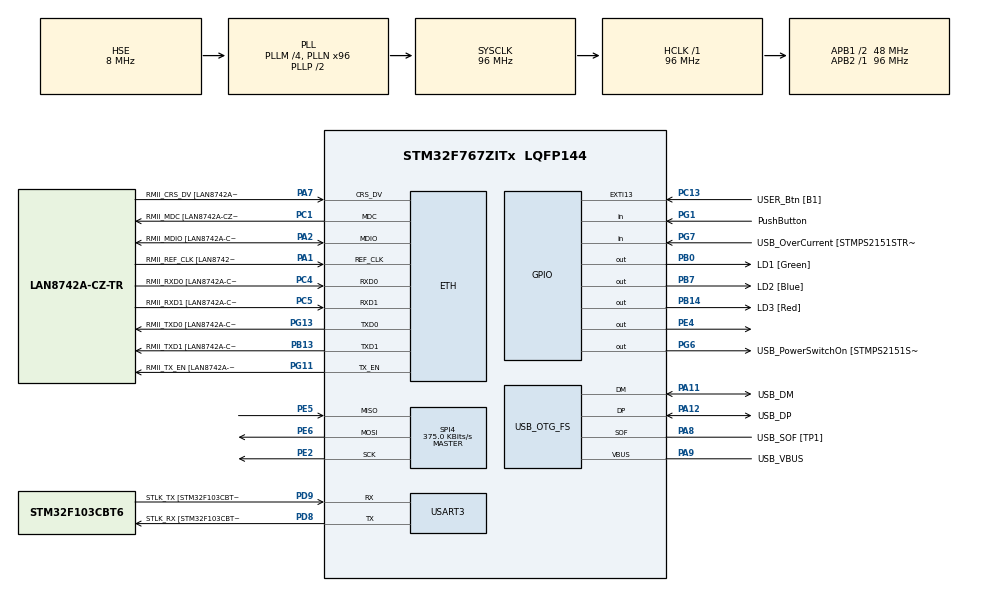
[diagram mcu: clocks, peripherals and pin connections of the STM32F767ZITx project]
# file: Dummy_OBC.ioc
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Dma.Request0=SPI4_RX
Dma.Request1=SPI4_TX
Dma.SPI4_RX.0.Direction=DMA_PERIPH_TO_MEMORY
Dma.SPI4_RX.0.FIFOMode=DMA_FIFOMODE_DISABLE
Dma.SPI4_RX.0.Instance=DMA2_Stream0
Dma.SPI4_RX.0.MemDataAlignment=DMA_MDATAALIGN_BYTE
Dma.SPI4_RX.0.MemInc=DMA_MINC_ENABLE
Dma.SPI4_RX.0.Mode=DMA_NORMAL
Dma.SPI4_RX.0.PeriphDataAlignment=DMA_PDATAALIGN_BYTE
Dma.SPI4_RX.0.PeriphInc=DMA_PINC_DISABLE
Dma.SPI4_RX.0.Priority=DMA_PRIORITY_LOW
Dma.SPI4_TX.1.Direction=DMA_MEMORY_TO_PERIPH
Dma.SPI4_TX.1.FIFOMode=DMA_FIFOMODE_DISABLE
Dma.SPI4_TX.1.Instance=DMA2_Stream1
Dma.SPI4_TX.1.MemDataAlignment=DMA_MDATAALIGN_BYTE
Dma.SPI4_TX.1.MemInc=DMA_MINC_ENABLE
Dma.SPI4_TX.1.Mode=DMA_NORMAL
Dma.SPI4_TX.1.PeriphDataAlignment=DMA_PDATAALIGN_BYTE
Dma.SPI4_TX.1.PeriphInc=DMA_PINC_DISABLE
Dma.SPI4_TX.1.Priority=DMA_PRIORITY_LOW
ETH.MediaInterface=ETH_MEDIA_INTERFACE_RMII
ETH.PHY_Name=LAN8742A_PHY_ADDRESS
ETH.PHY_Value=0
ETH.PhyAddress=0
Mcu.Family=STM32F7
Mcu.Name=STM32F767ZITx
Mcu.Package=LQFP144
NVIC.DMA2_Stream0_IRQn=true\:0\:0\:false\:false\:true\:false\:true
NVIC.DMA2_Stream1_IRQn=true\:0\:0\:false\:false\:true\:false\:true
NVIC.PriorityGroup=NVIC_PRIORITYGROUP_4
PA1.GPIO_Label=RMII_REF_CLK [LAN8742A-CZ-TR_REFCLK0]
PA1.Mode=RMII
PA1.Signal=ETH_REF_CLK
PA10.GPIO_Label=USB_ID
PA10.Signal=USB_OTG_FS_ID
PA11.GPIO_Label=USB_DM
PA11.Mode=Device_Only
PA11.Signal=USB_OTG_FS_DM
PA12.GPIO_Label=USB_DP
PA12.Mode=Device_Only
PA12.Signal=USB_OTG_FS_DP
PA13.GPIO_Label=TMS
PA13.Mode=Serial_Wire
PA13.Signal=SYS_JTMS-SWDIO
PA14.GPIO_Label=TCK
PA14.Mode=Serial_Wire
PA14.Signal=SYS_JTCK-SWCLK
PA2.GPIO_Label=RMII_MDIO [LAN8742A-CZ-TR_MDIO]
PA2.Mode=RMII
PA2.Signal=ETH_MDIO
PA7.GPIO_Label=RMII_CRS_DV [LAN8742A-CZ-TR_CRS_DV]
PA7.Mode=RMII
PA7.Signal=ETH_CRS_DV
PA8.GPIO_Label=USB_SOF [TP1]
PA8.Mode=Activate_SOF_FS
PA8.Signal=USB_OTG_FS_SOF
PA9.GPIO_Label=USB_VBUS
PA9.Mode=Activate_VBUS
PA9.Signal=USB_OTG_FS_VBUS
PB0.GPIO_Label=LD1 [Green]
PB0.Signal=GPIO_Output
PB13.GPIO_Label=RMII_TXD1 [LAN8742A-CZ-TR_TXD1]
PB13.Mode=RMII
PB13.Signal=ETH_TXD1
PB14.GPIO_Label=LD3 [Red]
PB14.Signal=GPIO_Output
PB3.GPIO_Label=SWO
PB3.Signal=SYS_JTDO-SWO
PB7.GPIO_Label=LD2 [Blue]
PB7.Signal=GPIO_Output
PC1.GPIO_Label=RMII_MDC [LAN8742A-CZ-TR_MDC]
PC1.Mode=RMII
PC1.Signal=ETH_MDC
PC13.GPIO_Label=USER_Btn [B1]
PC13.Signal=GPXTI13
PC14/OSC32_IN.Mode=LSE-External-Oscillator
PC14/OSC32_IN.Signal=RCC_OSC32_IN
PC15/OSC32_OUT.Mode=LSE-External-Oscillator
PC15/OSC32_OUT.Signal=RCC_OSC32_OUT
PC4.GPIO_Label=RMII_RXD0 [LAN8742A-CZ-TR_RXD0]
PC4.Mode=RMII
PC4.Signal=ETH_RXD0
PC5.GPIO_Label=RMII_RXD1 [LAN8742A-CZ-TR_RXD1]
PC5.Mode=RMII
PC5.Signal=ETH_RXD1
PD8.GPIO_Label=STLK_RX [STM32F103CBT6_PA3]
PD8.Mode=Asynchronous
PD8.Signal=USART3_TX
PD9.GPIO_Label=STLK_TX [STM32F103CBT6_PA2]
PD9.Mode=Asynchronous
PD9.Signal=USART3_RX
PE2.Mode=Full_Duplex_Master
PE2.Signal=SPI4_SCK
PE4.Signal=GPIO_Output
PE5.Mode=Full_Duplex_Master
PE5.Signal=SPI4_MISO
PE6.Mode=Full_Duplex_Master
PE6.Signal=SPI4_MOSI
PG1.GPIO_Label=PushButton
PG1.Signal=GPIO_Input
PG11.GPIO_Label=RMII_TX_EN [LAN8742A-CZ-TR_TXEN]
PG11.Mode=RMII
PG11.Signal=ETH_TX_EN
PG13.GPIO_Label=RMII_TXD0 [LAN8742A-CZ-TR_TXD0]
PG13.Mode=RMII
PG13.Signal=ETH_TXD0
PG6.GPIO_Label=USB_PowerSwitchOn [STMPS2151STR_EN]
PG6.Signal=GPIO_Output
PG7.GPIO_Label=USB_OverCurrent [STMPS2151STR_FAULT]
PG7.Signal=GPIO_Input
PH0/OSC_IN.GPIO_Label=MCO [STM32F103CBT6_PA8]
PH0/OSC_IN.Mode=HSE-External-Clock-Source
PH0/OSC_IN.Signal=RCC_OSC_IN
PH1/OSC_OUT.Mode=HSE-External-Clock-Source
PH1/OSC_OUT.Signal=RCC_OSC_OUT
ProjectManager.HeapSize=0x200
ProjectManager.StackSize=0x400
ProjectManager.TargetToolchain=STM32CubeIDE
RCC.48MHZClocksFreq_Value=24000000
RCC.AHBFreq_Value=96000000
RCC.APB1CLKDivider=RCC_HCLK_DIV2
RCC.APB1Freq_Value=48000000
RCC.APB1TimFreq_Value=96000000
RCC.APB2Freq_Value=96000000
RCC.APB2TimFreq_Value=96000000
RCC.CortexFreq_Value=96000000
RCC.HCLKFreq_Value=96000000
RCC.HSE_VALUE=8000000
RCC.HSI_VALUE=16000000
RCC.PLLM=4
RCC.PLLMUL=RCC_PLL_MUL9
RCC.PLLN=96
RCC.PLLQ=4
RCC.PRESCALERUSB=RCC_USBCLKSOURCE_PLL_DIV1_5
RCC.SYSCLKFreq_VALUE=96000000
RCC.SYSCLKSource=RCC_SYSCLKSOURCE_PLLCLK
RCC.SYSCLKSourceVirtual=RCC_SYSCLKSOURCE_PLLCLK
RCC.USBFreq_Value=48000000
RCC.VCOOutputFreq_Value=192000000
SPI4.BaudRatePrescaler=SPI_BAUDRATEPRESCALER_256
SPI4.CalculateBaudRate=375.0 KBits/s
SPI4.DataSize=SPI_DATASIZE_8BIT
SPI4.Direction=SPI_DIRECTION_2LINES
SPI4.Mode=SPI_MODE_MASTER
SPI4.VirtualType=VM_MASTER
TIM14.Period=5000 - 1
TIM14.Prescaler=10800 - 1
USART3.VirtualMode-Asynchronous=VM_ASYNC
USB_OTG_FS.VirtualMode=Device_Only
VP_TIM14_VS_ClockSourceINT.Mode=Enable_Timer
board=NUCLEO-F767ZI

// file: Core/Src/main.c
/* USER CODE BEGIN Header */
/**
  ******************************************************************************
  * @file           : main.c
  * @brief          : Main program body
  ******************************************************************************
  * @attention
  *
  * Copyright (c) 2022 STMicroelectronics.
  * All rights reserved.
  *
  * This software is licensed under terms that can be found in the LICENSE file
  * in the root directory of this software component.
  * If no LICENSE file comes with this software, it is provided AS-IS.
  *
  ******************************************************************************
  */
/* USER CODE END Header */
#include "main.h"

/* USER CODE BEGIN Includes */
#include "stdio.h"
#include "IntraSatComm.h"
#include "string.h"
#include "OBC_Header_OCU.h"
/* USER CODE END Includes */

ETH_HandleTypeDef heth;

SPI_HandleTypeDef hspi4;
DMA_HandleTypeDef hdma_spi4_rx;
DMA_HandleTypeDef hdma_spi4_tx;

TIM_HandleTypeDef htim14;

UART_HandleTypeDef huart3;

PCD_HandleTypeDef hpcd_USB_OTG_FS;

/* USER CODE BEGIN PV */
uint8_t HandShake_Tx[12] = {};

uint8_t id,len,cmd;
int Ack;
uint8_t BufferTx[12] = {};
uint8_t BufferRx[12] = {};
uint8_t BufferTX2[23] = {};
uint8_t BufferRX2[23] = {};
uint8_t BufferArg2[23] = {};
uint8_t Current_Full_TX[12] = {};
uint8_t BufferArg[12] = {};
/* USER CODE END PV */

void SystemClock_Config(void);
static void MX_GPIO_Init(void);
static void MX_ETH_Init(void);
static void MX_USART3_UART_Init(void);
static void MX_DMA_Init(void);
static void MX_SPI4_Init(void);
static void MX_USB_OTG_FS_PCD_Init(void);
static void MX_TIM14_Init(void);

/* USER CODE BEGIN 0 */
/*---------------------- CLEAR BUFFERS  ----------------------*/
void Clear(uint8_t *buffer, int len)
{
	for(int i = 0; i < len; i++)
	{
		buffer[i] = 0x00;
	}
}
/*---------------------- OCU GET CURRENT ----------------------*/
void Get_Current()
{

/*---------------------- OCU GET_CURRENT FIRST MESSAGE ----------------------*/
	uint8_t arg[] = {0x0C};
	PacketAssemble(OCU_BUS_ID, OCU_HANDSHAKE, arg, 1, BufferTx);
	HAL_Delay(5000);
	HAL_GPIO_WritePin(GPIOE, GPIO_PIN_4, GPIO_PIN_RESET);
	HAL_SPI_Transmit(&hspi4, BufferTx, sizeof(BufferTx), HAL_MAX_DELAY);
	HAL_GPIO_WritePin(GPIOE,GPIO_PIN_4, GPIO_PIN_SET);
	HAL_Delay(3);

	HAL_GPIO_WritePin(GPIOE,GPIO_PIN_4,GPIO_PIN_RESET);
	HAL_SPI_Receive(&hspi4, BufferRx, sizeof(BufferRx), HAL_MAX_DELAY);
	HAL_GPIO_WritePin(GPIOE,GPIO_PIN_4, GPIO_PIN_SET);
	HAL_Delay(3);

	deframeReturn retVal;
	retVal = PacketDisassemble(&id, &len, &cmd, BufferArg, BufferRx, sizeof(BufferArg));

/*---------------------- OCU GET_CURRENT FIRST MESSAGE ----------------------*/

	if(retVal == DEFRAME_OK)
	{
		Ack++;
	}
/*---------------------- OCU GET_CURRENT 2ND MESSAGE ----------------------*/
	if(Ack  == 1 ) {
		PacketAssemble(OCU_BUS_ID, OCU_GET_CURRENT, Current_Full_TX, 1, BufferTX2);
		HAL_GPIO_WritePin(GPIOE,GPIO_PIN_4, GPIO_PIN_RESET);
		HAL_SPI_Transmit(&hspi4,BufferTX2,sizeof(BufferTX2), HAL_MAX_DELAY);
		HAL_GPIO_WritePin(GPIOE, GPIO_PIN_4, GPIO_PIN_SET);
		HAL_Delay(3);
	}
	HAL_GPIO_WritePin(GPIOE,GPIO_PIN_4,GPIO_PIN_RESET);
	HAL_SPI_Receive(&hspi4, BufferRX2, 12, HAL_MAX_DELAY);
	HAL_GPIO_WritePin(GPIOE, GPIO_PIN_4,GPIO_PIN_SET);
	HAL_Delay(3);

	retVal = PacketDisassemble(&id,&len,&cmd, BufferArg, BufferRX2, sizeof(BufferArg));
	if (retVal == DEFRAME_OK)
	{
		Ack++;
	}
	Ack = 0;
	HAL_SPIEx_FlushRxFifo(&hspi4);
	Clear(BufferTx, sizeof(BufferTx));
	Clear(BufferRx, sizeof(BufferRx));
	Clear(BufferTX2, sizeof(BufferTX2));
	Clear(BufferRX2, sizeof(BufferRX2));
/*---------------------- OCU GET_CURRENT 2ND MESSAGE ----------------------*/

};
/* USER CODE END 0 */

int main(void)
{

  /* MCU Configuration--------------------------------------------------------*/

  /* Reset of all peripherals, Initializes the Flash interface and the Systick. */
  HAL_Init();

  /* Configure the system clock */
  SystemClock_Config();

  /* Initialize all configured peripherals */
  MX_GPIO_Init();
 // MX_ETH_Init();
  MX_USART3_UART_Init();
  //MX_DMA_Init();
  MX_SPI4_Init();
  MX_USB_OTG_FS_PCD_Init();
  MX_TIM14_Init();
  /* USER CODE BEGIN 2 */

  HAL_TIM_Base_Start_IT(&htim14);
  HAL_GPIO_WritePin(GPIOE, GPIO_PIN_4, GPIO_PIN_SET);
  PacketInit();
  /* USER CODE END 2 */

  /* Infinite loop */
  while (1)
  {

    /* USER CODE BEGIN 3 */

		  Get_Current();

  }
  /* USER CODE END 3 */
}

void SystemClock_Config(void)
{
  RCC_OscInitTypeDef RCC_OscInitStruct = {0};
  RCC_ClkInitTypeDef RCC_ClkInitStruct = {0};

  /** Configure LSE Drive Capability
  */
  HAL_PWR_EnableBkUpAccess();
  /** Configure the main internal regulator output voltage
  */
  __HAL_RCC_PWR_CLK_ENABLE();
  __HAL_PWR_VOLTAGESCALING_CONFIG(PWR_REGULATOR_VOLTAGE_SCALE3);
  /** Initializes the RCC Oscillators according to the specified parameters
  * in the RCC_OscInitTypeDef structure.
  */
  RCC_OscInitStruct.OscillatorType = RCC_OSCILLATORTYPE_HSE;
  RCC_OscInitStruct.HSEState = RCC_HSE_BYPASS;
  RCC_OscInitStruct.PLL.PLLState = RCC_PLL_ON;
  RCC_OscInitStruct.PLL.PLLSource = RCC_PLLSOURCE_HSE;
  RCC_OscInitStruct.PLL.PLLM = 4;
  RCC_OscInitStruct.PLL.PLLN = 96;
  RCC_OscInitStruct.PLL.PLLP = RCC_PLLP_DIV2;
  RCC_OscInitStruct.PLL.PLLQ = 4;
  RCC_OscInitStruct.PLL.PLLR = 2;
  if (HAL_RCC_OscConfig(&RCC_OscInitStruct) != HAL_OK)
  {
    Error_Handler();
  }
  /** Activate the Over-Drive mode
  */
  if (HAL_PWREx_EnableOverDrive() != HAL_OK)
  {
    Error_Handler();
  }
  /** Initializes the CPU, AHB and APB buses clocks
  */
  RCC_ClkInitStruct.ClockType = RCC_CLOCKTYPE_HCLK|RCC_CLOCKTYPE_SYSCLK
                              |RCC_CLOCKTYPE_PCLK1|RCC_CLOCKTYPE_PCLK2;
  RCC_ClkInitStruct.SYSCLKSource = RCC_SYSCLKSOURCE_PLLCLK;
  RCC_ClkInitStruct.AHBCLKDivider = RCC_SYSCLK_DIV1;
  RCC_ClkInitStruct.APB1CLKDivider = RCC_HCLK_DIV2;
  RCC_ClkInitStruct.APB2CLKDivider = RCC_HCLK_DIV1;

  if (HAL_RCC_ClockConfig(&RCC_ClkInitStruct, FLASH_LATENCY_3) != HAL_OK)
  {
    Error_Handler();
  }
}

static void MX_ETH_Init(void)
{

   static uint8_t MACAddr[6];

  heth.Instance = ETH;
  heth.Init.AutoNegotiation = ETH_AUTONEGOTIATION_ENABLE;
  heth.Init.Speed = ETH_SPEED_100M;
  heth.Init.DuplexMode = ETH_MODE_FULLDUPLEX;
  heth.Init.PhyAddress = LAN8742A_PHY_ADDRESS;
  MACAddr[0] = 0x00;
  MACAddr[1] = 0x80;
  MACAddr[2] = 0xE1;
  MACAddr[3] = 0x00;
  MACAddr[4] = 0x00;
  MACAddr[5] = 0x00;
  heth.Init.MACAddr = &MACAddr[0];
  heth.Init.RxMode = ETH_RXPOLLING_MODE;
  heth.Init.ChecksumMode = ETH_CHECKSUM_BY_HARDWARE;
  heth.Init.MediaInterface = ETH_MEDIA_INTERFACE_RMII;

  if (HAL_ETH_Init(&heth) != HAL_OK)
  {
    Error_Handler();
  }

}

static void MX_SPI4_Init(void)
{

  /* SPI4 parameter configuration*/
  hspi4.Instance = SPI4;
  hspi4.Init.Mode = SPI_MODE_MASTER;
  hspi4.Init.Direction = SPI_DIRECTION_2LINES;
  hspi4.Init.DataSize = SPI_DATASIZE_8BIT;
  hspi4.Init.CLKPolarity = SPI_POLARITY_LOW;
  hspi4.Init.CLKPhase = SPI_PHASE_1EDGE;
  hspi4.Init.NSS = SPI_NSS_SOFT;
  hspi4.Init.BaudRatePrescaler = SPI_BAUDRATEPRESCALER_256;
  hspi4.Init.FirstBit = SPI_FIRSTBIT_MSB;
  hspi4.Init.TIMode = SPI_TIMODE_DISABLE;
  hspi4.Init.CRCCalculation = SPI_CRCCALCULATION_DISABLE;
  hspi4.Init.CRCPolynomial = 7;
  hspi4.Init.CRCLength = SPI_CRC_LENGTH_DATASIZE;
  hspi4.Init.NSSPMode = SPI_NSS_PULSE_ENABLE;
  if (HAL_SPI_Init(&hspi4) != HAL_OK)
  {
    Error_Handler();
  }

}

static void MX_TIM14_Init(void)
{

  htim14.Instance = TIM14;
  htim14.Init.Prescaler = 10800 - 1;
  htim14.Init.CounterMode = TIM_COUNTERMODE_UP;
  htim14.Init.Period = 5000 - 1;
  htim14.Init.ClockDivision = TIM_CLOCKDIVISION_DIV1;
  htim14.Init.AutoReloadPreload = TIM_AUTORELOAD_PRELOAD_DISABLE;
  if (HAL_TIM_Base_Init(&htim14) != HAL_OK)
  {
    Error_Handler();
  }

}

static void MX_USART3_UART_Init(void)
{

  huart3.Instance = USART3;
  huart3.Init.BaudRate = 115200;
  huart3.Init.WordLength = UART_WORDLENGTH_8B;
  huart3.Init.StopBits = UART_STOPBITS_1;
  huart3.Init.Parity = UART_PARITY_NONE;
  huart3.Init.Mode = UART_MODE_TX_RX;
  huart3.Init.HwFlowCtl = UART_HWCONTROL_NONE;
  huart3.Init.OverSampling = UART_OVERSAMPLING_16;
  huart3.Init.OneBitSampling = UART_ONE_BIT_SAMPLE_DISABLE;
  huart3.AdvancedInit.AdvFeatureInit = UART_ADVFEATURE_NO_INIT;
  if (HAL_UART_Init(&huart3) != HAL_OK)
  {
    Error_Handler();
  }

}

static void MX_USB_OTG_FS_PCD_Init(void)
{

  hpcd_USB_OTG_FS.Instance = USB_OTG_FS;
  hpcd_USB_OTG_FS.Init.dev_endpoints = 6;
  hpcd_USB_OTG_FS.Init.speed = PCD_SPEED_FULL;
  hpcd_USB_OTG_FS.Init.dma_enable = DISABLE;
  hpcd_USB_OTG_FS.Init.phy_itface = PCD_PHY_EMBEDDED;
  hpcd_USB_OTG_FS.Init.Sof_enable = ENABLE;
  hpcd_USB_OTG_FS.Init.low_power_enable = DISABLE;
  hpcd_USB_OTG_FS.Init.lpm_enable = DISABLE;
  hpcd_USB_OTG_FS.Init.vbus_sensing_enable = ENABLE;
  hpcd_USB_OTG_FS.Init.use_dedicated_ep1 = DISABLE;
  if (HAL_PCD_Init(&hpcd_USB_OTG_FS) != HAL_OK)
  {
    Error_Handler();
  }

}

static void MX_DMA_Init(void)
{

  /* DMA controller clock enable */
  __HAL_RCC_DMA2_CLK_ENABLE();

  /* DMA interrupt init */
  /* DMA2_Stream0_IRQn interrupt configuration */
  HAL_NVIC_SetPriority(DMA2_Stream0_IRQn, 0, 0);
  HAL_NVIC_EnableIRQ(DMA2_Stream0_IRQn);
  /* DMA2_Stream1_IRQn interrupt configuration */
  HAL_NVIC_SetPriority(DMA2_Stream1_IRQn, 0, 0);
  HAL_NVIC_EnableIRQ(DMA2_Stream1_IRQn);

}

static void MX_GPIO_Init(void)
{
  GPIO_InitTypeDef GPIO_InitStruct = {0};

  /* GPIO Ports Clock Enable */
  __HAL_RCC_GPIOE_CLK_ENABLE();
  __HAL_RCC_GPIOC_CLK_ENABLE();
  __HAL_RCC_GPIOH_CLK_ENABLE();
  __HAL_RCC_GPIOA_CLK_ENABLE();
  __HAL_RCC_GPIOB_CLK_ENABLE();
  __HAL_RCC_GPIOG_CLK_ENABLE();
  __HAL_RCC_GPIOD_CLK_ENABLE();

  /*Configure GPIO pin Output Level */
  HAL_GPIO_WritePin(GPIOE, GPIO_PIN_4, GPIO_PIN_RESET);

  /*Configure GPIO pin Output Level */
  HAL_GPIO_WritePin(GPIOB, LD1_Pin|LD3_Pin|LD2_Pin, GPIO_PIN_RESET);

  /*Configure GPIO pin Output Level */
  HAL_GPIO_WritePin(USB_PowerSwitchOn_GPIO_Port, USB_PowerSwitchOn_Pin, GPIO_PIN_RESET);

  /*Configure GPIO pin : PE4 */
  GPIO_InitStruct.Pin = GPIO_PIN_4;
  GPIO_InitStruct.Mode = GPIO_MODE_OUTPUT_PP;
  GPIO_InitStruct.Pull = GPIO_NOPULL;
  GPIO_InitStruct.Speed = GPIO_SPEED_FREQ_LOW;
  HAL_GPIO_Init(GPIOE, &GPIO_InitStruct);

  /*Configure GPIO pin : USER_Btn_Pin */
  GPIO_InitStruct.Pin = USER_Btn_Pin;
  GPIO_InitStruct.Mode = GPIO_MODE_IT_RISING;
  GPIO_InitStruct.Pull = GPIO_NOPULL;
  HAL_GPIO_Init(USER_Btn_GPIO_Port, &GPIO_InitStruct);

  /*Configure GPIO pins : LD1_Pin LD3_Pin LD2_Pin */
  GPIO_InitStruct.Pin = LD1_Pin|LD3_Pin|LD2_Pin;
  GPIO_InitStruct.Mode = GPIO_MODE_OUTPUT_PP;
  GPIO_InitStruct.Pull = GPIO_NOPULL;
  GPIO_InitStruct.Speed = GPIO_SPEED_FREQ_LOW;
  HAL_GPIO_Init(GPIOB, &GPIO_InitStruct);

  /*Configure GPIO pins : PushButton_Pin USB_OverCurrent_Pin */
  GPIO_InitStruct.Pin = PushButton_Pin|USB_OverCurrent_Pin;
  GPIO_InitStruct.Mode = GPIO_MODE_INPUT;
  GPIO_InitStruct.Pull = GPIO_NOPULL;
  HAL_GPIO_Init(GPIOG, &GPIO_InitStruct);

  /*Configure GPIO pin : USB_PowerSwitchOn_Pin */
  GPIO_InitStruct.Pin = USB_PowerSwitchOn_Pin;
  GPIO_InitStruct.Mode = GPIO_MODE_OUTPUT_PP;
  GPIO_InitStruct.Pull = GPIO_NOPULL;
  GPIO_InitStruct.Speed = GPIO_SPEED_FREQ_LOW;
  HAL_GPIO_Init(USB_PowerSwitchOn_GPIO_Port, &GPIO_InitStruct);

}

void Error_Handler(void)
{
  __disable_irq();
  while (1)
  {
  }
}
